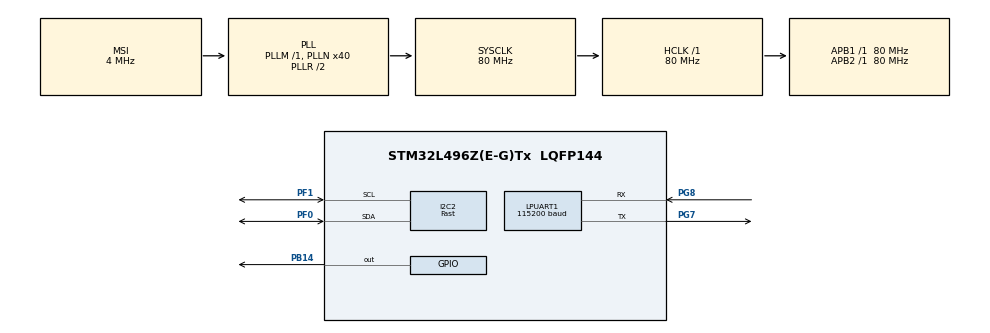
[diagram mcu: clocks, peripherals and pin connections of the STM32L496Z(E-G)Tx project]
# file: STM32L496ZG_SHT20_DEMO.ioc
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I2C2.I2C_Speed_Mode=I2C_Fast
I2C2.Timing=0x00702991
LPUART1.BaudRate=115200
LPUART1.WordLength=UART_WORDLENGTH_8B
Mcu.Family=STM32L4
Mcu.Name=STM32L496Z(E-G)Tx
Mcu.Package=LQFP144
NVIC.PriorityGroup=NVIC_PRIORITYGROUP_4
PB14.Signal=GPIO_Output
PF0.Mode=I2C
PF0.Signal=I2C2_SDA
PF1.Mode=I2C
PF1.Signal=I2C2_SCL
PG7.Mode=Asynchronous
PG7.Signal=LPUART1_TX
PG8.Mode=Asynchronous
PG8.Signal=LPUART1_RX
ProjectManager.HeapSize=0x200
ProjectManager.StackSize=0x400
ProjectManager.TargetToolchain=MDK-ARM V5
RCC.AHBFreq_Value=80000000
RCC.APB1Freq_Value=80000000
RCC.APB1TimFreq_Value=80000000
RCC.APB2Freq_Value=80000000
RCC.APB2TimFreq_Value=80000000
RCC.CortexFreq_Value=80000000
RCC.HCLKFreq_Value=80000000
RCC.HSE_VALUE=8000000
RCC.HSI48_VALUE=48000000
RCC.HSI_VALUE=16000000
RCC.LSE_VALUE=32768
RCC.MSI_VALUE=4000000
RCC.PLLN=40
RCC.SYSCLKFreq_VALUE=80000000
RCC.SYSCLKSource=RCC_SYSCLKSOURCE_PLLCLK
RCC.VCOOutputFreq_Value=160000000
board=STM32L496ZG_SHT20_DEMO

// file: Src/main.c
/**
  ******************************************************************************
  * File Name          : main.c
  * Description        : Main program body
  ******************************************************************************
  *
  * COPYRIGHT(c) 2017 STMicroelectronics
  *
  * Redistribution and use in source and binary forms, with or without modification,
  * are permitted provided that the following conditions are met:
  *   1. Redistributions of source code must retain the above copyright notice,
  *      this list of conditions and the following disclaimer.
  *   2. Redistributions in binary form must reproduce the above copyright notice,
  *      this list of conditions and the following disclaimer in the documentation
  *      and/or other materials provided with the distribution.
  *   3. Neither the name of STMicroelectronics nor the names of its contributors
  *      may be used to endorse or promote products derived from this software
  *      without specific prior written permission.
  *
  * THIS SOFTWARE IS PROVIDED BY THE COPYRIGHT HOLDERS AND CONTRIBUTORS "AS IS"
  * AND ANY EXPRESS OR IMPLIED WARRANTIES, INCLUDING, BUT NOT LIMITED TO, THE
  * IMPLIED WARRANTIES OF MERCHANTABILITY AND FITNESS FOR A PARTICULAR PURPOSE ARE
  * DISCLAIMED. IN NO EVENT SHALL THE COPYRIGHT HOLDER OR CONTRIBUTORS BE LIABLE
  * FOR ANY DIRECT, INDIRECT, INCIDENTAL, SPECIAL, EXEMPLARY, OR CONSEQUENTIAL
  * DAMAGES (INCLUDING, BUT NOT LIMITED TO, PROCUREMENT OF SUBSTITUTE GOODS OR
  * SERVICES; LOSS OF USE, DATA, OR PROFITS; OR BUSINESS INTERRUPTION) HOWEVER
  * CAUSED AND ON ANY THEORY OF LIABILITY, WHETHER IN CONTRACT, STRICT LIABILITY,
  * OR TORT (INCLUDING NEGLIGENCE OR OTHERWISE) ARISING IN ANY WAY OUT OF THE USE
  * OF THIS SOFTWARE, EVEN IF ADVISED OF THE POSSIBILITY OF SUCH DAMAGE.
  *
  ******************************************************************************
  */
#include "main.h"
#include "stm32l4xx_hal.h"
#include "i2c.h"
#include "usart.h"
#include "gpio.h"

/* USER CODE BEGIN Includes */

#include "SHT20_DRV.h"

#ifdef __GNUC__
#define PUTCHAR_PROTOTYPE int __io_putchar(int ch)
#else
#define PUTCHAR_PROTOTYPE int fputc(int ch, FILE *f)
#endif
PUTCHAR_PROTOTYPE
{
HAL_UART_Transmit(&hlpuart1 , (uint8_t *)&ch, 1, 0xFFFF);
return ch;
}
/* USER CODE END Includes */

/* USER CODE BEGIN PV */
/* Private variables ---------------------------------------------------------*/
unsigned long timer=0;
/* USER CODE END PV */

void SystemClock_Config(void);
void Error_Handler(void);

/* USER CODE BEGIN PFP */
/* Private function prototypes -----------------------------------------------*/

/* USER CODE END PFP */

int main(void)
{

  /* MCU Configuration----------------------------------------------------------*/

  /* Reset of all peripherals, Initializes the Flash interface and the Systick. */
  HAL_Init();

  /* Configure the system clock */
  SystemClock_Config();

  /* Initialize all configured peripherals */
  MX_GPIO_Init();
  MX_I2C2_Init();
  MX_LPUART1_UART_Init();

  /* USER CODE BEGIN 2 */
	timer=HAL_GetTick();
	printf("STM32L496ZG_SHT20_TESTING_ON_HARDWARE_I2C...\r\n");
  /* USER CODE END 2 */

  /* Infinite loop */
  while (1)
  {

  /* USER CODE BEGIN 3 */
	if(HAL_GetTick()-timer>=1000)
		{
			printf("SHT20_Temperature=%2.0f¡ãC ",Get_SHT20_TEMP());
			printf("SHT20_Humidity=%2.0f%s\r\n",Get_SHT20_HUM(),"%");
			timer=HAL_GetTick();
		}
  }
  /* USER CODE END 3 */

}

/** System Clock Configuration
*/
void SystemClock_Config(void)
{

  RCC_OscInitTypeDef RCC_OscInitStruct;
  RCC_ClkInitTypeDef RCC_ClkInitStruct;
  RCC_PeriphCLKInitTypeDef PeriphClkInit;

    /**Initializes the CPU, AHB and APB busses clocks
    */
  RCC_OscInitStruct.OscillatorType = RCC_OSCILLATORTYPE_MSI;
  RCC_OscInitStruct.MSIState = RCC_MSI_ON;
  RCC_OscInitStruct.MSICalibrationValue = 0;
  RCC_OscInitStruct.MSIClockRange = RCC_MSIRANGE_6;
  RCC_OscInitStruct.PLL.PLLState = RCC_PLL_ON;
  RCC_OscInitStruct.PLL.PLLSource = RCC_PLLSOURCE_MSI;
  RCC_OscInitStruct.PLL.PLLM = 1;
  RCC_OscInitStruct.PLL.PLLN = 40;
  RCC_OscInitStruct.PLL.PLLP = RCC_PLLP_DIV2;
  RCC_OscInitStruct.PLL.PLLQ = RCC_PLLQ_DIV2;
  RCC_OscInitStruct.PLL.PLLR = RCC_PLLR_DIV2;
  if (HAL_RCC_OscConfig(&RCC_OscInitStruct) != HAL_OK)
  {
    Error_Handler();
  }

    /**Initializes the CPU, AHB and APB busses clocks
    */
  RCC_ClkInitStruct.ClockType = RCC_CLOCKTYPE_HCLK|RCC_CLOCKTYPE_SYSCLK
                              |RCC_CLOCKTYPE_PCLK1|RCC_CLOCKTYPE_PCLK2;
  RCC_ClkInitStruct.SYSCLKSource = RCC_SYSCLKSOURCE_PLLCLK;
  RCC_ClkInitStruct.AHBCLKDivider = RCC_SYSCLK_DIV1;
  RCC_ClkInitStruct.APB1CLKDivider = RCC_HCLK_DIV1;
  RCC_ClkInitStruct.APB2CLKDivider = RCC_HCLK_DIV1;

  if (HAL_RCC_ClockConfig(&RCC_ClkInitStruct, FLASH_LATENCY_4) != HAL_OK)
  {
    Error_Handler();
  }

  PeriphClkInit.PeriphClockSelection = RCC_PERIPHCLK_LPUART1|RCC_PERIPHCLK_I2C2;
  PeriphClkInit.Lpuart1ClockSelection = RCC_LPUART1CLKSOURCE_PCLK1;
  PeriphClkInit.I2c2ClockSelection = RCC_I2C2CLKSOURCE_PCLK1;
  if (HAL_RCCEx_PeriphCLKConfig(&PeriphClkInit) != HAL_OK)
  {
    Error_Handler();
  }

    /**Configure the main internal regulator output voltage
    */
  if (HAL_PWREx_ControlVoltageScaling(PWR_REGULATOR_VOLTAGE_SCALE1) != HAL_OK)
  {
    Error_Handler();
  }

    /**Configure the Systick interrupt time
    */
  HAL_SYSTICK_Config(HAL_RCC_GetHCLKFreq()/1000);

    /**Configure the Systick
    */
  HAL_SYSTICK_CLKSourceConfig(SYSTICK_CLKSOURCE_HCLK);

  /* SysTick_IRQn interrupt configuration */
  HAL_NVIC_SetPriority(SysTick_IRQn, 0, 0);
}

void Error_Handler(void)
{
  while(1)
  {
  }
}

/************************ (C) COPYRIGHT STMicroelectronics *****END OF FILE****/
